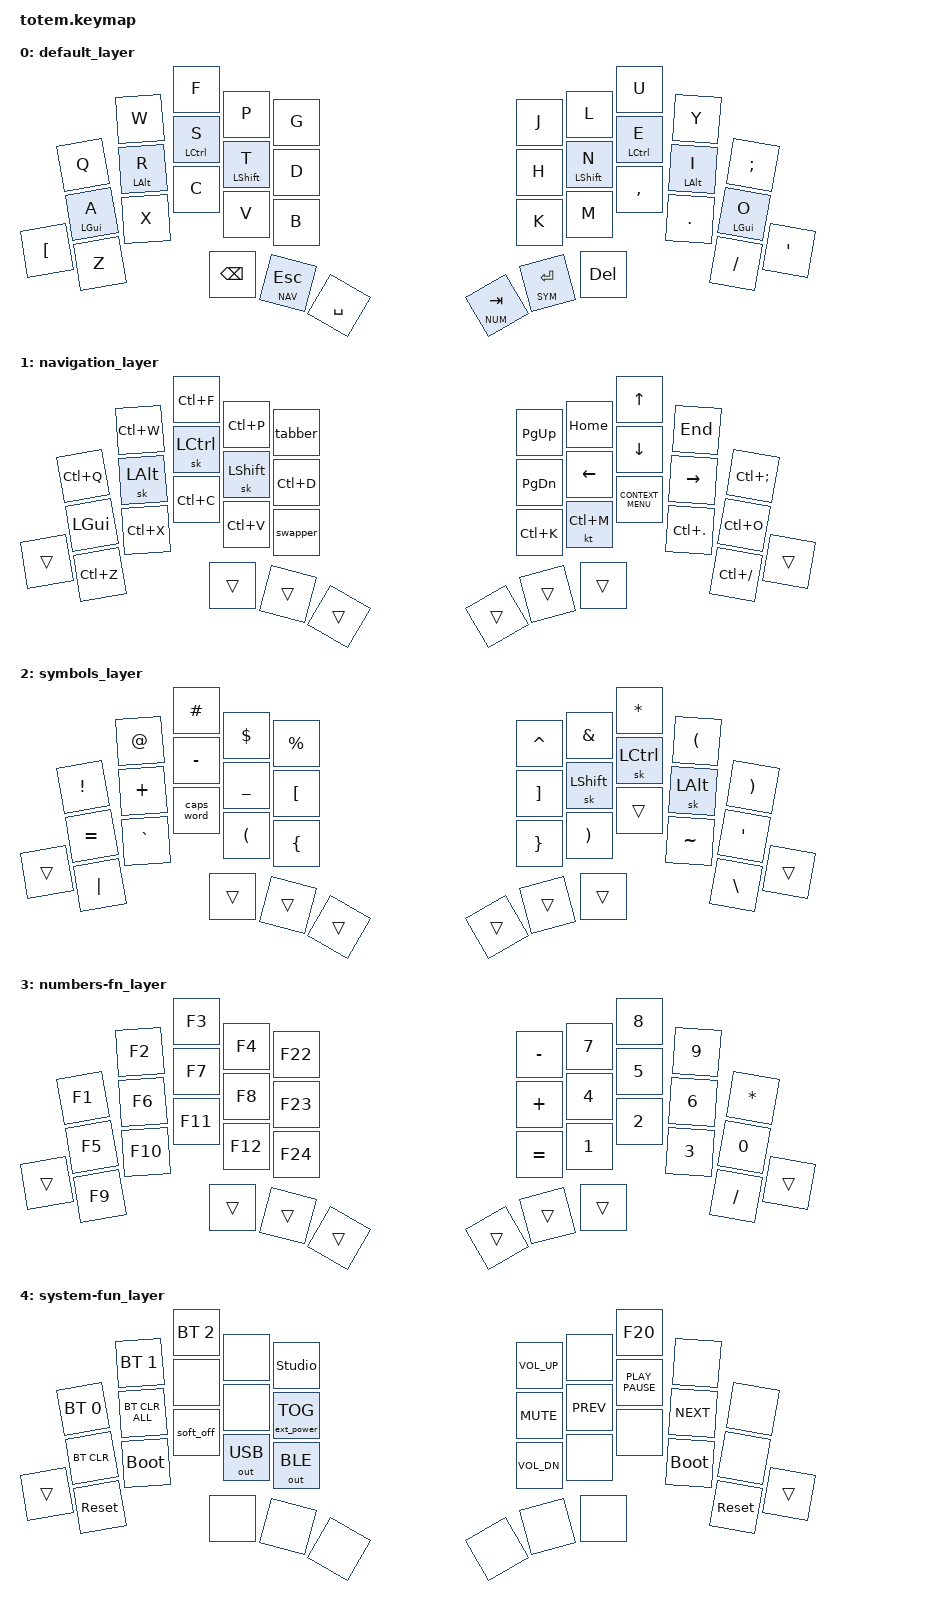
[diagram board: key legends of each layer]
#include <behaviors.dtsi>
#include <dt-bindings/zmk/bt.h>
#include <dt-bindings/zmk/keys.h>
#include <dt-bindings/zmk/outputs.h>
#include <dt-bindings/zmk/ext_power.h>

//     0  1  2  3  4       5  6  7  8  9
//    10 11 12 13 14      15 16 17 18 19
// 20 21 22 23 24 25      26 27 28 29 30 31
//          32 33 34      35 36 37
#define LEFT_KEYS 0 1 2 3 4 10 11 12 13 14 20 21 22 23 24 25
#define LEFT_THUMBS 32 33 34
#define RIGHT_KEYS 5 6 7 8 9 15 16 17 18 19 26 27 28 29 30 31
#define RIGHT_THUMBS 35 36 37

#define DEF 0
#define NAV 1
#define SYM 2
#define NUM 3
#define SYS 4

/ {
    conditional_layers {
        compatible = "zmk,conditional-layers";

        sys_layer {
            if-layers = <NAV SYM>;
            then-layer = <SYS>;
        };
    };
};

/ {
    combos { compatible = "zmk,combos"; };

    behaviors {
        hml: home_row_mod_left {
            compatible = "zmk,behavior-hold-tap";
            label = "HRM Left";
            #binding-cells = <2>;
            flavor = "balanced"; //produces a "hold" if another key is both pressed and released within the tapping-term.
            require-prior-idle-ms = <150>; // immediately resolves a HRM as "tap" when it is pressed shortly after another key has been tapped.
            tapping-term-ms = <280>; //how long a key must be pressed to trigger the "hold" behavior
            quick-tap-ms = <175>; //If you press a tapped hold-tap again within quick-tap-ms milliseconds of the first press, it will always trigger the tap behavior.
            bindings = <&kp>, <&kp>;
            hold-trigger-key-positions = <RIGHT_KEYS RIGHT_THUMBS>; // List of keys on the right side of the keyboard
            hold-trigger-on-release; //delays the positional-hold-tap decision until the next key's release. With this, mods can be combined when held
        };
        hmr: home_row_mod_right {
            compatible = "zmk,behavior-hold-tap";
            label = "HRM Right";
            #binding-cells = <2>;
            flavor = "balanced";
            require-prior-idle-ms = <150>;
            tapping-term-ms = <280>;
            quick-tap-ms = <175>;
            bindings = <&kp>, <&kp>;
            hold-trigger-key-positions = <LEFT_KEYS LEFT_THUMBS>; // List of keys on the left side of the keyboard
            hold-trigger-on-release;
        };
        swapper: swapper {
            compatible = "zmk,behavior-tri-state";
            label = "SWAPPER";
            #binding-cells = <0>;
            bindings = <&kt LALT>, <&kp TAB>, <&kt LALT>;
            ignored-key-positions = <7 13 16 17 18>;
        };
        tabber: tabber {
            compatible = "zmk,behavior-tri-state";
            label = "TABBER";
            #binding-cells = <0>;
            bindings = <&kt LCTRL>, <&kp TAB>, <&kt LCTRL>;
            ignored-key-positions = <13>;
        };
    };

    keymap {
        compatible = "zmk,keymap";

        default_layer {
            bindings = <
         &kp Q          &kp W        &kp F            &kp P              &kp G             /* | */        &kp J          &kp L              &kp U            &kp Y             &kp SEMI
         &hml LGUI A    &hml LALT R  &hml LCTRL S     &hml LSHIFT T      &kp D             /* | */        &kp H          &hmr LSHIFT N      &hmr LCTRL E     &hmr LALT I       &hmr LGUI O
&kp LBKT &kp Z          &kp X        &kp C            &kp V              &kp B             /* | */        &kp K          &kp M              &kp COMMA        &kp DOT           &kp SLASH        &kp SQT
                                     /* - - - - - - - - - - - - - - - - - - - - - - - - - - - - - - - - - - - - - - - - - - - - - - - - - - - - - */
                                     &kp BSPC          &lt NAV ESC       &kp SPACE         /* | */        &lt NUM TAB    &lt SYM ENTER      &kp DEL
            >;
        };

        navigation_layer {
            bindings = <
         &kp LC(Q)     &kp LC(W)     &kp LC(F)        &kp LC(P)          &tabber            /* | */        &kp PG_UP      &kp HOME           &kp UP          &kp END            &kp LC(SEMI)
         &kp LGUI      &sk LALT      &sk LCTRL        &sk LSHIFT         &kp LC(D)          /* | */        &kp PG_DN      &kp LEFT           &kp DOWN        &kp RIGHT          &kp LC(O)
&trans   &kp LC(Z)     &kp LC(X)     &kp LC(C)        &kp LC(V)          &swapper           /* | */        &kp LC(K)      &kt LC(M)          &kp K_CONTEXT_MENU &kp LC(PERIOD)  &kp LC(SLASH)   &trans
                                     /* - - - - - - - - - - - - - - - - - - - - - - - - - - - - - - - - - - - - - - - - - - - - - - - - - - - - - */
                                     &trans           &trans             &trans             /* | */        &trans         &trans             &trans
            >;
        };

        symbols_layer {
            bindings = <
         &kp EXCL      &kp AT        &kp HASH         &kp DOLLAR         &kp PERCENT        /* | */        &kp CARET      &kp AMPERSAND      &kp STAR          &kp LPAR          &kp RPAR
         &kp EQUAL     &kp PLUS      &kp MINUS        &kp UNDER          &kp LBKT           /* | */        &kp RBKT       &sk LSHIFT         &sk LCTRL         &sk LALT          &kp SQT
&trans   &kp PIPE      &kp GRAVE     &caps_word       &kp LPAR           &kp LBRC           /* | */        &kp RBRC       &kp RPAR           &trans            &kp TILDE         &kp BACKSLASH  &trans
                                     /* - - - - - - - - - - - - - - -  - - - - - - - - - - - - - - - - - - - - - - - - - - - - - - - - - - - - - - */
                                     &trans           &trans             &trans             /* | */        &trans         &trans             &trans
            >;
        };

        numbers-fn_layer {
            bindings = <
         &kp F1        &kp F2        &kp F3          &kp F4              &kp F22            /* | */        &kp MINUS      &kp N7            &kp N8            &kp N9            &kp STAR
         &kp F5        &kp F6        &kp F7          &kp F8              &kp F23            /* | */        &kp PLUS       &kp N4            &kp N5            &kp N6            &kp N0
&trans   &kp F9        &kp F10       &kp F11         &kp F12             &kp F24            /* | */        &kp EQUAL      &kp N1            &kp N2            &kp N3            &kp SLASH       &trans
                                     /* - - - - - - - - - - - - - - - - - - - - - - - - - - - - - - - - - - - - - - - - - - - - - - - - - - - - - */
                                     &trans           &trans             &trans             /* | */        &trans         &trans             &trans
            >;
        };

        system-fun_layer {
            bindings = <
         &bt BT_SEL 0  &bt BT_SEL 1   &bt BT_SEL 2    &none              &studio_unlock     /* | */        &kp K_VOL_UP    &none             &kp F20 /* mic */  &none            &none
         &bt BT_CLR    &bt BT_CLR_ALL &none           &none              &ext_power EP_TOG  /* | */        &kp K_MUTE      &kp K_PREV        &kp K_PLAY_PAUSE   &kp K_NEXT       &none
&trans   &sys_reset    &bootloader    &soft_off       &out OUT_USB       &out OUT_BLE       /* | */        &kp K_VOL_DN    &none             &none              &bootloader      &sys_reset     &trans
                                     /* - - - - - - - - - - - - - - - - - - - - - - - - - - - - - - - - - - - - - - - - - - - - - - - - - - - - - */
                                      &none           &none              &none              /* | */        &none          &none              &none
            >;
        };
    };
};
